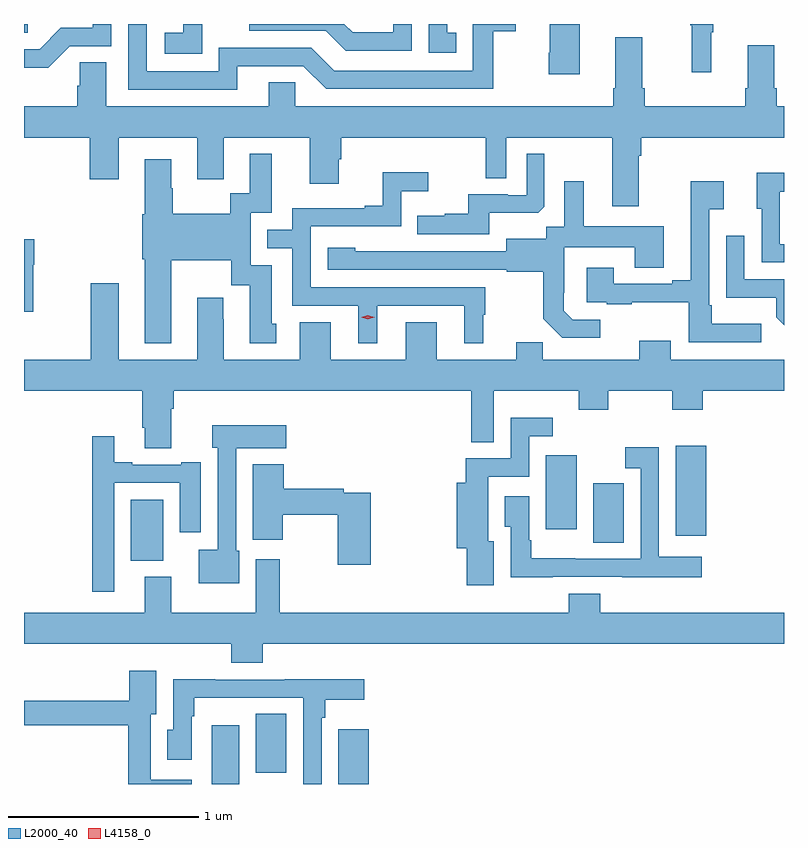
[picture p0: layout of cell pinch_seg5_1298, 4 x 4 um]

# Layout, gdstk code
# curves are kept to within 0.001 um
import gdstk
lib = gdstk.Library(unit=1e-6, precision=1e-09)
def R(c, l, rs):  # rectangles x0, y0, x1, y1
    for r in rs: c.add(gdstk.rectangle(r[:2], r[2:], *l))
def P(c, l, *ps):  # polygons
    for p in ps: c.add(gdstk.Polygon(p, *l))
L2000_40 = (2000, 40)
L4158_0 = (4158, 0)

pinch_seg5_1298 = lib.new_cell('pinch_seg5_1298')
R(pinch_seg5_1298, L2000_40, [(364.031,895.982,364.174,896.29), (364.697,895.982,364.856,896.269), (364.262,896.04,364.423,896.351), (363.605,897.158,363.775,897.478), (366.038,897.253,366.199,897.564), (366.473,897.288,366.634,897.763), (365.789,897.323,365.95,897.712), (363.042,899.935,363.063,899.982)])
P(pinch_seg5_1298, L2000_40, [(365.318,899.937),(365.269,899.937),(365.269,899.982),(365.172,899.982),(365.172,899.832),(365.318,899.832)],
  [(365.082,899.982),(364.986,899.982),(364.986,899.938),(364.772,899.938),(364.728,899.982),(364.228,899.982),(364.228,899.946),(364.631,899.946),(364.736,899.841),(365.082,899.841)],
  [(364.165,899.76),(364.512,899.76),(364.632,899.64),(365.512,899.64),(365.512,899.943),(365.63,899.943),(365.63,899.982),(365.403,899.982),(365.403,899.736),(364.674,899.736),(364.554,899.856),(364.068,899.856),(364.068,899.733),(363.687,899.733),(363.687,899.982),(363.591,899.982),(363.591,899.637),(364.165,899.637)],
  [(366.659,899.939),(366.67,899.939),(366.67,899.982),(366.549,899.982),(366.549,899.976),(366.556,899.976),(366.556,899.727),(366.659,899.727)],
  [(365.968,899.982),(365.81,899.982),(365.81,899.83),(365.803,899.83),(365.803,899.718),(365.968,899.718)],
  [(363.282,899.865),(363.501,899.865),(363.501,899.982),(363.405,899.982),(363.405,899.961),(363.236,899.961),(363.125,899.85),(363.042,899.85),(363.042,899.753),(363.169,899.753)],
  [(363.981,899.982),(363.881,899.982),(363.881,899.935),(363.783,899.935),(363.783,899.825),(363.981,899.825)],
  [(366.277,899.288),(366.29,899.288),(366.29,899.384),(367.042,899.384),(367.042,899.548),(367.004,899.548),(367.004,899.644),(366.991,899.644),(366.991,899.869),(366.851,899.869),(366.851,899.644),(366.839,899.644),(366.839,899.548),(366.308,899.548),(366.308,899.644),(366.295,899.644),(366.295,899.911),(366.155,899.911),(366.155,899.644),(366.143,899.644),(366.143,899.548),(364.47,899.548),(364.47,899.675),(364.331,899.675),(364.331,899.548),(363.475,899.548),(363.475,899.78),(363.336,899.78),(363.336,899.657),(363.323,899.657),(363.323,899.548),(363.042,899.548),(363.042,899.384),(363.389,899.384),(363.389,899.166),(363.541,899.166),(363.541,899.384),(363.953,899.384),(363.953,899.166),(364.093,899.166),(364.093,899.384),(364.547,899.384),(364.547,899.142),(364.699,899.142),(364.699,899.271),(364.712,899.271),(364.712,899.384),(365.472,899.384),(365.472,899.17),(365.58,899.17),(365.58,899.384),(366.137,899.384),(366.137,899.022),(366.277,899.022)],
  [(365.491,898.988),(365.749,898.988),(365.781,899.019),(365.781,899.299),(365.688,899.299),(365.688,899.082),(365.588,899.082),(365.588,899.085),(365.381,899.085),(365.381,898.984),(365.257,898.984),(365.257,898.972),(365.113,898.972),(365.113,898.875),(365.491,898.875)],
  [(363.817,898.739),(364.133,898.739),(364.133,898.608),(364.229,898.608),(364.229,898.302),(364.369,898.302),(364.369,898.404),(364.345,898.404),(364.345,898.713),(364.236,898.713),(364.236,898.989),(364.345,898.989),(364.345,899.299),(364.229,899.299),(364.229,899.09),(364.128,899.09),(364.128,898.984),(363.825,898.984),(363.825,899.118),(363.817,899.118),(363.817,899.269),(363.677,899.269),(363.677,898.98),(363.665,898.98),(363.665,898.743),(363.677,898.743),(363.677,898.301),(363.817,898.301)],
  [(364.9,898.5),(365.36,898.5),(365.36,898.301),(365.458,898.301),(365.458,898.452),(365.47,898.452),(365.47,898.596),(364.551,898.596),(364.551,898.917),(365.028,898.917),(365.028,899.102),(365.17,899.102),(365.17,899.201),(364.93,899.201),(364.93,899.026),(364.835,899.026),(364.835,899.013),(364.455,899.013),(364.455,898.899),(364.321,898.899),(364.321,898.803),(364.455,898.803),(364.455,898.5),(364.802,898.5),(364.802,898.301),(364.9,898.301)],
  [(367.042,898.824),(367.02,898.824),(367.02,899.1),(367.042,899.1),(367.042,899.198),(366.899,899.198),(366.899,899.01),(366.924,899.01),(366.924,898.728),(367.042,898.728)],
  [(366.922,898.405),(366.661,898.405),(366.661,898.501),(366.648,898.501),(366.648,899.006),(366.724,899.006),(366.724,899.155),(366.551,899.155),(366.551,898.633),(366.455,898.633),(366.455,898.614),(366.145,898.614),(366.145,898.699),(366.005,898.699),(366.005,898.518),(366.109,898.518),(366.109,898.506),(366.241,898.506),(366.241,898.517),(366.54,898.517),(366.54,898.308),(366.922,898.308)],
  [(366.076,898.425),(365.931,898.425),(365.884,898.472),(365.884,898.567),(365.886,898.567),(365.886,898.808),(366.257,898.808),(366.257,898.699),(366.409,898.699),(366.409,898.918),(365.989,898.918),(365.989,899.155),(365.885,899.155),(365.885,898.916),(365.79,898.916),(365.79,898.852),(365.579,898.852),(365.579,898.785),(364.785,898.786),(364.785,898.804),(364.641,898.804),(364.641,898.689),(365.583,898.689),(365.583,898.677),(365.775,898.677),(365.775,898.431),(365.875,898.331),(366.076,898.331)],
  [(367.042,898.638),(366.834,898.638),(366.834,898.867),(366.738,898.867),(366.738,898.541),(367,898.541),(367,898.439),(367.042,898.397)],
  [(363.09,898.715),(363.095,898.715),(363.095,898.848),(363.042,898.848),(363.042,898.467),(363.09,898.467)],
  [(365.962,897.953),(366.117,897.953),(366.117,898.052),(366.454,898.052),(366.454,897.953),(366.614,897.953),(366.614,898.052),(367.042,898.052),(367.042,898.216),(366.445,898.216),(366.445,898.315),(366.281,898.315),(366.281,898.216),(365.771,898.216),(365.771,898.307),(365.633,898.307),(365.633,898.216),(365.215,898.216),(365.215,898.411),(365.051,898.411),(365.051,898.216),(364.657,898.216),(364.657,898.411),(364.493,898.411),(364.493,898.216),(364.093,898.216),(364.093,898.427),(364.09,898.427),(364.09,898.54),(363.953,898.54),(363.953,898.216),(363.541,898.216),(363.541,898.618),(363.394,898.618),(363.394,898.216),(363.042,898.216),(363.042,898.052),(363.665,898.052),(363.665,897.856),(363.677,897.856),(363.677,897.748),(363.817,897.748),(363.817,897.956),(363.83,897.956),(363.83,898.052),(365.397,898.052),(365.397,897.781),(365.515,897.781),(365.515,898.052),(365.962,898.052)],
  [(365.515,897.259),(365.485,897.259),(365.485,897.6),(365.7,897.6),(365.7,897.813),(365.824,897.813),(365.824,897.91),(365.604,897.91),(365.604,897.696),(365.367,897.696),(365.367,897.568),(365.32,897.568),(365.32,897.224),(365.372,897.224),(365.372,897.027),(365.515,897.027)],
  [(364.174,897.21),(364.158,897.21),(364.158,897.749),(364.423,897.749),(364.423,897.871),(364.034,897.871),(364.034,897.753),(364.062,897.753),(364.062,897.214),(363.962,897.214),(363.962,897.038),(364.174,897.038)],
  [(363.516,897.567),(363.863,897.567),(363.863,897.306),(363.973,897.306),(363.973,897.676),(363.869,897.676),(363.869,897.663),(363.613,897.663),(363.613,897.676),(363.517,897.676),(363.517,897.811),(363.4,897.811),(363.4,896.994),(363.516,896.994)],
  [(365.825,897.072),(366.191,897.072),(366.191,897.071),(366.61,897.071),(366.61,897.178),(366.384,897.178),(366.384,897.754),(366.207,897.754),(366.207,897.645),(366.288,897.645),(366.288,897.168),(365.942,897.168),(365.942,897.169),(365.713,897.169),(365.713,897.265),(365.7,897.265),(365.7,897.496),(365.573,897.496),(365.573,897.337),(365.604,897.337),(365.604,897.071),(365.825,897.071)],
  [(364.866,897.516),(364.724,897.516),(364.724,897.536),(364.409,897.536),(364.409,897.664),(364.247,897.664),(364.247,897.267),(364.404,897.267),(364.404,897.4),(364.693,897.4),(364.693,897.135),(364.866,897.135)],
  [(364.298,896.72),(367.042,896.72),(367.042,896.884),(366.074,896.884),(366.074,896.983),(365.909,896.983),(365.909,896.884),(364.388,896.884),(364.388,897.166),(364.262,897.166),(364.262,896.884),(363.817,896.884),(363.817,897.073),(363.677,897.073),(363.677,896.884),(363.042,896.884),(363.042,896.72),(364.133,896.72),(364.133,896.621),(364.298,896.621)],
  [(363.924,896.004),(363.709,896.004),(363.709,896.349),(363.739,896.349),(363.739,896.578),(363.596,896.578),(363.596,896.419),(363.042,896.419),(363.042,896.29),(363.591,896.29),(363.591,895.982),(363.924,895.982)],
  [(364.608,896.33),(364.628,896.33),(364.628,896.426),(364.834,896.426),(364.834,896.534),(364.415,896.534),(364.415,896.532),(364.049,896.532),(364.049,896.534),(363.828,896.534),(363.828,896.268),(363.797,896.268),(363.797,896.109),(363.924,896.109),(363.924,896.339),(363.937,896.339),(363.937,896.435),(364.166,896.435),(364.166,896.436),(364.512,896.436),(364.512,895.982),(364.608,895.982)])
P(pinch_seg5_1298, L4158_0, [(364.851,898.428),(364.816,898.438),(364.815,898.438),(364.816,898.438),(364.851,898.448),(364.886,898.438),(364.887,898.438),(364.886,898.438)])

lib.write_gds('pinch_seg5_1298.gds')
